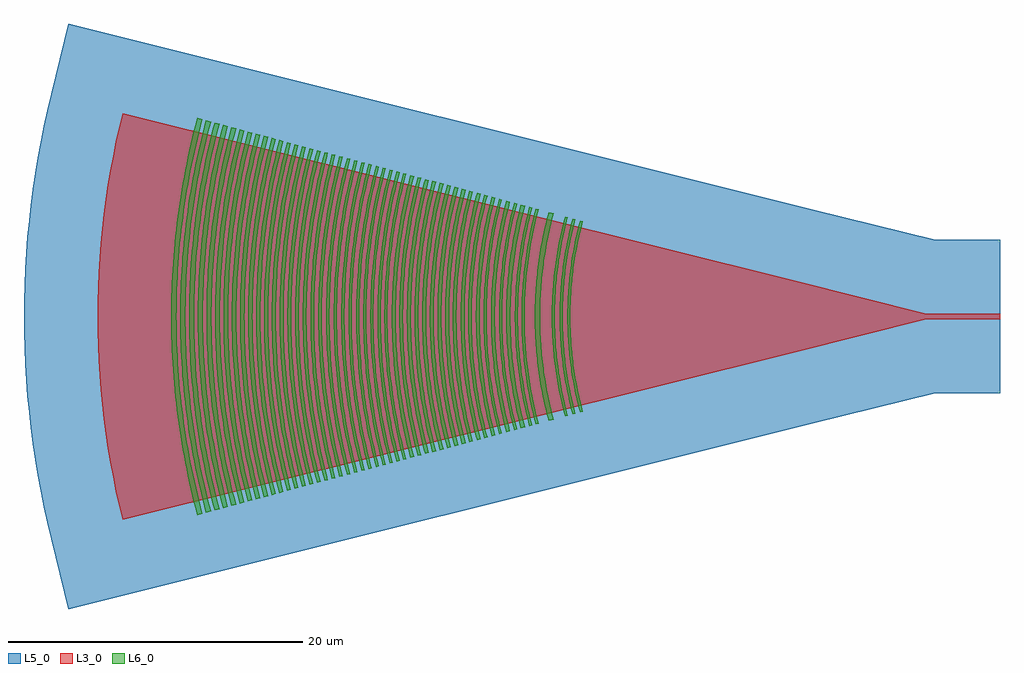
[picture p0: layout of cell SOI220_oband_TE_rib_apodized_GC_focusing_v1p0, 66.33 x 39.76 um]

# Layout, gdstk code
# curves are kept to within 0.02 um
import gdstk
lib = gdstk.Library(unit=1e-6, precision=1e-09)
def P(c, l, *ps):  # polygons
    for p in ps: c.add(gdstk.Polygon(p, *l))
L3_0 = (3, 0)
L5_0 = (5, 0)
L6_0 = (6, 0)

soi220_oband_te_rib_apod = lib.new_cell('SOI220_oband_TE_rib_apodized_GC_focusing_v1p0')
P(soi220_oband_te_rib_apod, L3_0, [(-59.628,-13.82),(-60.077,-11.877),(-60.457,-9.92),(-60.899,-6.962),(-61.108,-4.979),(-61.247,-2.99),(-61.325,0),(-61.247,2.99),(-61.108,4.979),(-60.899,6.962),(-60.457,9.92),(-60.077,11.877),(-59.628,13.82),(-5,0.2),(0,0.2),(0,-0.2),(-5,-0.2)])
P(soi220_oband_te_rib_apod, L5_0, [(-63.27,-19.881),(-63.32,-19.85),(-64.733,-13.977),(-65.183,-11.853),(-65.561,-9.72),(-65.985,-6.495),(-66.174,-4.334),(-66.287,-2.167),(-66.325,0),(-66.287,2.167),(-66.174,4.334),(-65.985,6.495),(-65.561,9.72),(-65.183,11.853),(-64.733,13.977),(-63.32,19.85),(-63.27,19.881),(-4.384,5.2),(0,5.2),(0,-5.2),(-4.385,-5.2)])
P(soi220_oband_te_rib_apod, L6_0, [(-28.539,-6.522),(-28.935,-4.808),(-29.211,-3.071),(-29.351,-1.538),(-29.398,0),(-29.351,1.538),(-29.211,3.071),(-28.935,4.808),(-28.539,6.522),(-28.346,6.47),(-28.739,4.77),(-28.984,3.263),(-29.137,1.744),(-29.198,0),(-29.137,-1.744),(-28.984,-3.263),(-28.739,-4.77),(-28.346,-6.47)],
  [(-29.041,-6.656),(-29.402,-5.128),(-29.698,-3.357),(-29.856,-1.794),(-29.918,0),(-29.856,1.794),(-29.698,3.357),(-29.402,5.128),(-29.041,6.656),(-28.848,6.605),(-29.206,5.088),(-29.5,3.331),(-29.656,1.78),(-29.718,0),(-29.656,-1.78),(-29.5,-3.331),(-29.206,-5.088),(-28.848,-6.605)],
  [(-29.56,-6.795),(-29.928,-5.235),(-30.23,-3.427),(-30.392,-1.832),(-30.455,0),(-30.392,1.832),(-30.23,3.427),(-29.928,5.235),(-29.56,6.795),(-29.367,6.744),(-29.732,5.195),(-30.032,3.401),(-30.192,1.818),(-30.255,0),(-30.192,-1.818),(-30.032,-3.401),(-29.732,-5.195),(-29.367,-6.744)],
  [(-30.675,-7.093),(-31.059,-5.465),(-31.375,-3.577),(-31.558,-1.674),(-31.609,0),(-31.558,1.674),(-31.375,3.577),(-31.059,5.465),(-30.675,7.093),(-30.33,7.002),(-30.709,5.394),(-31.021,3.531),(-31.202,1.652),(-31.252,0),(-31.202,-1.652),(-31.021,-3.531),(-30.709,-5.394),(-30.33,-7.002)],
  [(-31.546,-7.327),(-31.943,-5.645),(-32.268,-3.695),(-32.459,-1.728),(-32.511,0),(-32.459,1.728),(-32.268,3.695),(-31.943,5.645),(-31.546,7.327),(-31.353,7.276),(-31.747,5.605),(-32.07,3.669),(-32.243,1.961),(-32.311,0),(-32.243,-1.961),(-32.07,-3.669),(-31.747,-5.605),(-31.353,-7.276)],
  [(-31.981,-7.444),(-32.384,-5.735),(-32.715,-3.754),(-32.908,-1.756),(-32.961,0),(-32.908,1.756),(-32.715,3.754),(-32.384,5.735),(-31.981,7.444),(-31.788,7.393),(-32.188,5.695),(-32.517,3.728),(-32.708,1.744),(-32.761,0),(-32.708,-1.744),(-32.517,-3.728),(-32.188,-5.695),(-31.788,-7.393)],
  [(-32.557,-7.598),(-33.019,-5.602),(-33.307,-3.832),(-33.503,-1.793),(-33.558,0),(-33.503,1.793),(-33.307,3.832),(-33.019,5.602),(-32.557,7.598),(-32.279,7.524),(-32.736,5.547),(-33.021,3.795),(-33.216,1.775),(-33.27,0),(-33.216,-1.775),(-33.021,-3.795),(-32.736,-5.547),(-32.279,-7.524)],
  [(-33.015,-7.721),(-33.484,-5.692),(-33.776,-3.894),(-33.96,-2.081),(-34.032,0),(-33.96,2.081),(-33.776,3.894),(-33.484,5.692),(-33.015,7.721),(-32.822,7.67),(-33.288,5.654),(-33.578,3.868),(-33.777,1.809),(-33.832,0),(-33.777,-1.809),(-33.578,-3.868),(-33.288,-5.654),(-32.822,-7.67)],
  [(-33.549,-7.864),(-33.975,-6.058),(-34.325,-3.966),(-34.529,-1.855),(-34.585,0),(-34.529,1.855),(-34.325,3.966),(-33.975,6.058),(-33.549,7.864),(-33.299,7.798),(-33.721,6.007),(-34.068,3.932),(-34.253,2.102),(-34.326,0),(-34.253,-2.102),(-34.068,-3.932),(-33.721,-6.007),(-33.299,-7.798)],
  [(-34.037,-7.995),(-34.47,-6.159),(-34.825,-4.032),(-35.033,-1.886),(-35.09,0),(-35.033,1.886),(-34.825,4.032),(-34.47,6.159),(-34.037,7.995),(-33.844,7.944),(-34.274,6.119),(-34.627,4.006),(-34.833,1.874),(-34.89,0),(-34.833,-1.874),(-34.627,-4.006),(-34.274,-6.119),(-33.844,-7.944)],
  [(-34.54,-8.129),(-34.979,-6.263),(-35.18,-5.184),(-35.341,-4.1),(-35.552,-1.918),(-35.61,0),(-35.552,1.918),(-35.341,4.1),(-35.18,5.184),(-34.979,6.263),(-34.54,8.129),(-34.303,8.067),(-34.739,6.214),(-35.098,4.068),(-35.307,1.903),(-35.365,0),(-35.307,-1.903),(-35.098,-4.068),(-34.739,-6.214),(-34.303,-8.067)],
  [(-35.052,-8.266),(-35.553,-6.095),(-35.867,-4.17),(-36.081,-1.95),(-36.14,0),(-36.081,1.95),(-35.867,4.17),(-35.553,6.095),(-35.052,8.266),(-34.827,8.207),(-35.27,6.322),(-35.636,4.139),(-35.83,2.212),(-35.907,0),(-35.83,-2.212),(-35.636,-4.139),(-35.27,-6.322),(-34.827,-8.207)],
  [(-35.54,-8.397),(-35.994,-6.469),(-36.368,-4.235),(-36.585,-1.98),(-36.645,0),(-36.585,1.98),(-36.368,4.235),(-35.994,6.469),(-35.54,8.397),(-35.293,8.332),(-35.799,6.143),(-36.115,4.202),(-36.312,2.246),(-36.39,0),(-36.312,-2.246),(-36.115,-4.202),(-35.799,-6.143),(-35.293,-8.332)],
  [(-36.061,-8.537),(-36.523,-6.576),(-36.733,-5.445),(-36.903,-4.305),(-37.124,-2.014),(-37.185,0),(-37.124,2.014),(-36.903,4.305),(-36.733,5.445),(-36.523,6.576),(-36.061,8.537),(-35.822,8.474),(-36.281,6.527),(-36.658,4.273),(-36.877,1.999),(-36.938,0),(-36.877,-1.999),(-36.658,-4.273),(-36.281,-6.527),(-35.822,-8.474)],
  [(-36.563,-8.671),(-37.033,-6.68),(-37.419,-4.373),(-37.551,-3.212),(-37.643,-2.045),(-37.705,0),(-37.643,2.045),(-37.551,3.212),(-37.419,4.373),(-37.033,6.68),(-36.563,8.671),(-36.302,8.602),(-36.768,6.626),(-37.151,4.338),(-37.282,3.186),(-37.373,2.029),(-37.435,0),(-37.373,-2.029),(-37.282,-3.186),(-37.151,-4.338),(-36.768,-6.626),(-36.302,-8.602)],
  [(-37.065,-8.806),(-37.353,-7.655),(-37.6,-6.493),(-37.934,-4.441),(-38.069,-3.261),(-38.162,-2.077),(-38.225,0),(-38.162,2.077),(-38.069,3.261),(-37.934,4.441),(-37.6,6.493),(-37.353,7.655),(-37.065,8.806),(-36.814,8.74),(-37.1,7.596),(-37.345,6.443),(-37.676,4.407),(-37.883,2.355),(-37.944,1.178),(-37.965,0),(-37.944,-1.178),(-37.883,-2.355),(-37.676,-4.407),(-37.345,-6.443),(-37.1,-7.596),(-36.814,-8.74)],
  [(-37.568,-8.94),(-38.052,-6.888),(-38.271,-5.702),(-38.45,-4.509),(-38.586,-3.311),(-38.681,-2.109),(-38.745,0),(-38.681,2.109),(-38.586,3.311),(-38.45,4.509),(-38.271,5.702),(-38.052,6.888),(-37.568,8.94),(-37.317,8.874),(-37.797,6.836),(-38.015,5.659),(-38.192,4.475),(-38.327,3.286),(-38.421,2.093),(-38.485,0),(-38.421,-2.093),(-38.327,-3.286),(-38.192,-4.475),(-38.015,-5.659),(-37.797,-6.836),(-37.317,-8.874)],
  [(-38.07,-9.075),(-38.366,-7.888),(-38.621,-6.691),(-38.965,-4.577),(-39.104,-3.361),(-39.2,-2.14),(-39.265,0),(-39.2,2.14),(-39.104,3.361),(-38.965,4.577),(-38.621,6.691),(-38.366,7.888),(-38.07,9.075),(-37.81,9.006),(-38.104,7.828),(-38.357,6.64),(-38.698,4.542),(-38.836,3.335),(-38.931,2.124),(-38.996,0),(-38.931,-2.124),(-38.836,-3.335),(-38.698,-4.542),(-38.357,-6.64),(-38.104,-7.828),(-37.81,-9.006)],
  [(-38.572,-9.21),(-39.071,-7.095),(-39.296,-5.874),(-39.481,-4.645),(-39.621,-3.411),(-39.719,-2.173),(-39.785,0),(-39.719,2.173),(-39.621,3.411),(-39.481,4.645),(-39.296,5.874),(-39.071,7.095),(-38.572,9.21),(-38.322,9.144),(-38.817,7.043),(-39.041,5.831),(-39.224,4.611),(-39.44,2.464),(-39.504,1.233),(-39.526,0),(-39.504,-1.233),(-39.44,-2.464),(-39.224,-4.611),(-39.041,-5.831),(-38.817,-7.043),(-38.322,-9.144)],
  [(-39.07,-9.343),(-39.576,-7.198),(-39.805,-5.959),(-39.991,-4.713),(-40.134,-3.46),(-40.233,-2.204),(-40.3,0),(-40.233,2.204),(-40.134,3.46),(-39.991,4.713),(-39.805,5.959),(-39.576,7.198),(-39.07,9.343),(-38.814,9.275),(-39.316,7.145),(-39.544,5.915),(-39.728,4.678),(-39.948,2.5),(-40.013,1.251),(-40.035,0),(-40.013,-1.251),(-39.948,-2.5),(-39.728,-4.678),(-39.544,-5.915),(-39.316,-7.145),(-38.814,-9.275)],
  [(-39.568,-9.476),(-39.877,-8.237),(-40.143,-6.987),(-40.502,-4.779),(-40.647,-3.509),(-40.747,-2.236),(-40.815,0),(-40.747,2.236),(-40.647,3.509),(-40.502,4.779),(-40.143,6.987),(-39.877,8.237),(-39.568,9.476),(-39.335,9.415),(-39.642,8.183),(-39.906,6.941),(-40.263,4.748),(-40.407,3.486),(-40.506,2.221),(-40.574,0),(-40.506,-2.221),(-40.407,-3.486),(-40.263,-4.748),(-39.906,-6.941),(-39.642,-8.183),(-39.335,-9.415)],
  [(-40.063,-9.609),(-40.583,-7.403),(-40.818,-6.128),(-41.011,-4.846),(-41.157,-3.559),(-41.259,-2.267),(-41.328,0),(-41.259,2.267),(-41.157,3.559),(-41.011,4.846),(-40.818,6.128),(-40.583,7.403),(-40.063,9.609),(-39.809,9.542),(-40.12,8.293),(-40.388,7.035),(-40.75,4.812),(-40.975,2.572),(-41.043,1.287),(-41.065,0),(-41.043,-1.287),(-40.975,-2.572),(-40.75,-4.812),(-40.388,-7.035),(-40.12,-8.293),(-39.809,-9.542)],
  [(-40.549,-9.739),(-41.076,-7.503),(-41.315,-6.211),(-41.509,-4.912),(-41.74,-2.625),(-41.808,-1.313),(-41.831,0),(-41.808,1.313),(-41.74,2.625),(-41.509,4.912),(-41.315,6.211),(-41.076,7.503),(-40.549,9.739),(-40.355,9.688),(-40.743,8.102),(-41.003,6.821),(-41.266,5.21),(-41.425,3.913),(-41.579,1.959),(-41.63,0),(-41.579,-1.959),(-41.425,-3.913),(-41.266,-5.21),(-41.003,-6.821),(-40.743,-8.102),(-40.355,-9.688)],
  [(-41,-9.86),(-41.321,-8.571),(-41.598,-7.27),(-41.972,-4.974),(-42.123,-3.652),(-42.227,-2.326),(-42.298,0),(-42.227,2.326),(-42.123,3.652),(-41.972,4.974),(-41.598,7.27),(-41.321,8.571),(-41,9.86),(-40.79,9.805),(-41.11,8.522),(-41.447,6.904),(-41.665,5.599),(-41.873,3.96),(-42.029,1.983),(-42.081,0),(-42.029,-1.983),(-41.873,-3.96),(-41.665,-5.599),(-41.447,-6.904),(-41.11,-8.522),(-40.79,-9.805)],
  [(-41.469,-9.986),(-41.795,-8.68),(-42.075,-7.362),(-42.454,-5.036),(-42.69,-2.692),(-42.761,-1.347),(-42.784,0),(-42.761,1.347),(-42.69,2.692),(-42.454,5.036),(-42.075,7.362),(-41.795,8.68),(-41.469,9.986),(-41.276,9.935),(-41.6,8.635),(-41.879,7.324),(-42.162,5.674),(-42.337,4.345),(-42.531,2.009),(-42.584,0),(-42.531,-2.009),(-42.337,-4.345),(-42.162,-5.674),(-41.879,-7.324),(-41.6,-8.635),(-41.276,-9.935)],
  [(-41.935,-10.111),(-42.482,-7.789),(-42.73,-6.448),(-42.931,-5.099),(-43.086,-3.744),(-43.194,-2.385),(-43.266,0),(-43.194,2.385),(-43.086,3.744),(-42.931,5.099),(-42.73,6.448),(-42.482,7.789),(-41.935,10.111),(-41.742,10.06),(-42.07,8.743),(-42.352,7.416),(-42.639,5.745),(-42.816,4.4),(-42.994,2.373),(-43.066,0),(-42.994,-2.373),(-42.816,-4.4),(-42.639,-5.745),(-42.352,-7.416),(-42.07,-8.743),(-41.742,-10.06)],
  [(-42.398,-10.235),(-42.952,-7.885),(-43.203,-6.528),(-43.407,-5.162),(-43.564,-3.791),(-43.673,-2.414),(-43.746,0),(-43.673,2.414),(-43.564,3.791),(-43.407,5.162),(-43.203,6.528),(-42.952,7.885),(-42.398,10.235),(-42.201,10.183),(-42.534,8.85),(-42.819,7.507),(-43.058,6.155),(-43.289,4.454),(-43.469,2.402),(-43.542,0),(-43.469,-2.402),(-43.289,-4.454),(-43.11,-5.815),(-42.883,-7.17),(-42.534,-8.85),(-42.201,-10.183)],
  [(-42.899,-10.369),(-43.459,-7.988),(-43.713,-6.613),(-43.92,-5.229),(-44.078,-3.84),(-44.189,-2.446),(-44.263,0),(-44.189,2.446),(-44.078,3.84),(-43.92,5.229),(-43.713,6.613),(-43.459,7.988),(-42.899,10.369),(-42.705,10.318),(-43.041,8.968),(-43.331,7.607),(-43.625,5.892),(-43.807,4.513),(-43.989,2.434),(-44.063,0),(-43.989,-2.434),(-43.807,-4.513),(-43.625,-5.892),(-43.331,-7.607),(-43.041,-8.968),(-42.705,-10.318)],
  [(-43.378,-10.498),(-43.946,-8.087),(-44.204,-6.695),(-44.413,-5.295),(-44.573,-3.887),(-44.685,-2.476),(-44.76,0),(-44.685,2.476),(-44.573,3.887),(-44.413,5.295),(-44.204,6.695),(-43.946,8.087),(-43.378,10.498),(-43.174,10.444),(-43.515,9.077),(-43.808,7.699),(-44.106,5.964),(-44.29,4.568),(-44.494,2.112),(-44.549,0),(-44.494,-2.112),(-44.29,-4.568),(-44.106,-5.964),(-43.808,-7.699),(-43.515,-9.077),(-43.174,-10.444)],
  [(-43.872,-10.63),(-44.448,-8.189),(-44.709,-6.779),(-44.92,-5.361),(-45.083,-3.937),(-45.196,-2.508),(-45.272,0),(-45.196,2.508),(-45.083,3.937),(-44.92,5.361),(-44.709,6.779),(-44.448,8.189),(-43.872,10.63),(-43.672,10.577),(-44.018,9.193),(-44.381,7.447),(-44.616,6.041),(-44.802,4.626),(-44.989,2.495),(-45.065,0),(-44.989,-2.495),(-44.802,-4.626),(-44.616,-6.041),(-44.381,-7.447),(-44.018,-9.193),(-43.672,-10.577)],
  [(-44.375,-10.764),(-44.726,-9.357),(-45.028,-7.937),(-45.436,-5.43),(-45.601,-3.987),(-45.715,-2.54),(-45.792,0),(-45.715,2.54),(-45.601,3.987),(-45.436,5.43),(-45.028,7.937),(-44.726,9.357),(-44.375,10.764),(-44.157,10.707),(-44.507,9.306),(-44.807,7.894),(-45.113,6.115),(-45.301,4.683),(-45.49,2.526),(-45.567,0),(-45.49,-2.526),(-45.301,-4.683),(-45.113,-6.115),(-44.807,-7.894),(-44.507,-9.306),(-44.157,-10.707)],
  [(-44.886,-10.901),(-45.241,-9.475),(-45.547,-8.037),(-45.961,-5.498),(-46.127,-4.037),(-46.243,-2.571),(-46.321,0),(-46.243,2.571),(-46.127,4.037),(-45.961,5.498),(-45.547,8.037),(-45.241,9.475),(-44.886,10.901),(-44.662,10.842),(-45.096,9.067),(-45.388,7.634),(-45.629,6.192),(-45.82,4.742),(-46.032,2.192),(-46.089,0),(-46.032,-2.192),(-45.82,-4.742),(-45.629,-6.192),(-45.388,-7.634),(-45.096,-9.067),(-44.662,-10.842)],
  [(-45.396,-11.038),(-45.756,-9.594),(-46.066,-8.138),(-46.484,-5.567),(-46.653,-4.088),(-46.77,-2.603),(-46.849,0),(-46.77,2.603),(-46.653,4.088),(-46.484,5.567),(-46.066,8.138),(-45.756,9.594),(-45.396,11.038),(-45.168,10.978),(-45.608,9.18),(-45.903,7.73),(-46.147,6.269),(-46.381,4.434),(-46.555,2.22),(-46.613,0),(-46.555,-2.22),(-46.381,-4.434),(-46.147,-6.269),(-45.903,-7.73),(-45.608,-9.18),(-45.168,-10.978)],
  [(-45.902,-11.174),(-46.267,-9.713),(-46.58,-8.238),(-47.004,-5.636),(-47.174,-4.138),(-47.293,-2.636),(-47.373,0),(-47.293,2.636),(-47.174,4.138),(-47.004,5.636),(-46.58,8.238),(-46.267,9.713),(-45.902,11.174),(-45.667,11.112),(-46.03,9.658),(-46.411,7.824),(-46.712,5.975),(-46.895,4.488),(-47.071,2.247),(-47.13,0),(-47.071,-2.247),(-46.895,-4.488),(-46.712,-5.975),(-46.411,-7.824),(-46.03,-9.658),(-45.667,-11.112)],
  [(-46.408,-11.31),(-47.02,-8.713),(-47.298,-7.212),(-47.523,-5.703),(-47.696,-4.188),(-47.816,-2.668),(-47.871,-1.525),(-47.897,0),(-47.871,1.525),(-47.816,2.668),(-47.696,4.188),(-47.523,5.703),(-47.298,7.212),(-47.02,8.713),(-46.408,11.31),(-46.167,11.246),(-46.534,9.774),(-46.85,8.291),(-47.171,6.422),(-47.369,4.919),(-47.567,2.653),(-47.622,1.516),(-47.648,0),(-47.622,-1.516),(-47.567,-2.653),(-47.369,-4.919),(-47.171,-6.422),(-46.85,-8.291),(-46.534,-9.774),(-46.167,-11.246)],
  [(-46.915,-11.445),(-47.2,-10.324),(-47.534,-8.816),(-47.815,-7.299),(-48.044,-5.773),(-48.219,-4.239),(-48.34,-2.7),(-48.407,-1.158),(-48.422,0),(-48.407,1.158),(-48.34,2.7),(-48.219,4.239),(-48.044,5.773),(-47.815,7.299),(-47.534,8.816),(-47.2,10.324),(-46.915,11.445),(-46.666,11.379),(-47.122,9.516),(-47.428,8.012),(-47.681,6.499),(-47.923,4.596),(-48.104,2.301),(-48.164,0),(-48.104,-2.301),(-47.923,-4.596),(-47.681,-6.499),(-47.428,-8.012),(-47.122,-9.516),(-46.666,-11.379)],
  [(-47.426,-11.582),(-47.715,-10.447),(-48.053,-8.922),(-48.337,-7.386),(-48.568,-5.842),(-48.745,-4.29),(-48.868,-2.732),(-48.936,-1.172),(-48.951,0),(-48.936,1.172),(-48.868,2.732),(-48.745,4.29),(-48.568,5.842),(-48.337,7.386),(-48.053,8.922),(-47.715,10.447),(-47.426,11.582),(-47.169,11.514),(-47.545,10.007),(-47.868,8.489),(-48.075,7.342),(-48.304,5.807),(-48.48,4.264),(-48.577,3.103),(-48.658,1.553),(-48.685,0),(-48.658,-1.553),(-48.577,-3.103),(-48.48,-4.264),(-48.304,-5.807),(-48.075,-7.342),(-47.868,-8.489),(-47.545,-10.007),(-47.169,-11.514)],
  [(-47.939,-11.719),(-48.321,-10.186),(-48.65,-8.641),(-48.925,-7.084),(-49.095,-5.91),(-49.274,-4.34),(-49.397,-2.765),(-49.455,-1.581),(-49.482,0),(-49.455,1.581),(-49.397,2.765),(-49.274,4.34),(-49.095,5.91),(-48.925,7.084),(-48.65,8.641),(-48.321,10.186),(-47.939,11.719),(-47.675,11.65),(-48.055,10.125),(-48.382,8.589),(-48.592,7.429),(-48.824,5.875),(-49.002,4.314),(-49.125,2.748),(-49.182,1.571),(-49.209,0),(-49.182,-1.571),(-49.125,-2.748),(-49.002,-4.314),(-48.824,-5.875),(-48.592,-7.429),(-48.382,-8.589),(-48.055,-10.125),(-47.675,-11.65)],
  [(-48.451,-11.857),(-48.838,-10.306),(-49.17,-8.741),(-49.384,-7.561),(-49.62,-5.981),(-49.761,-4.789),(-49.9,-3.195),(-49.984,-1.598),(-50.012,0),(-49.984,1.598),(-49.9,3.195),(-49.801,4.391),(-49.62,5.981),(-49.384,7.561),(-49.17,8.741),(-48.838,10.306),(-48.451,11.857),(-48.181,11.785),(-48.475,10.63),(-48.819,9.078),(-49.109,7.515),(-49.343,5.944),(-49.523,4.364),(-49.648,2.78),(-49.705,1.589),(-49.733,0),(-49.705,-1.589),(-49.648,-2.78),(-49.523,-4.364),(-49.343,-5.944),(-49.109,-7.515),(-48.819,-9.078),(-48.475,-10.63),(-48.181,-11.785)],
  [(-48.968,-11.995),(-49.36,-10.426),(-49.697,-8.844),(-49.977,-7.251),(-50.152,-6.05),(-50.335,-4.442),(-50.435,-3.233),(-50.52,-1.618),(-50.548,0),(-50.52,1.618),(-50.435,3.233),(-50.335,4.442),(-50.152,6.05),(-49.977,7.251),(-49.697,8.844),(-49.36,10.426),(-48.968,11.995),(-48.692,11.922),(-49.081,10.362),(-49.416,8.789),(-49.695,7.206),(-49.868,6.013),(-50.01,4.815),(-50.15,3.213),(-50.234,1.608),(-50.262,0),(-50.234,-1.608),(-50.15,-3.213),(-50.01,-4.815),(-49.868,-6.013),(-49.695,-7.206),(-49.416,-8.789),(-49.081,-10.362),(-48.692,-11.922)],
  [(-49.494,-12.136),(-49.89,-10.549),(-50.231,-8.948),(-50.449,-7.739),(-50.69,-6.122),(-50.876,-4.494),(-51.004,-2.863),(-51.064,-1.636),(-51.092,0),(-51.064,1.636),(-51.004,2.863),(-50.876,4.494),(-50.69,6.122),(-50.449,7.739),(-50.231,8.948),(-49.89,10.549),(-49.494,12.136),(-49.21,12.061),(-49.604,10.483),(-49.942,8.892),(-50.159,7.691),(-50.399,6.083),(-50.583,4.466),(-50.711,2.845),(-50.77,1.626),(-50.798,0),(-50.77,-1.626),(-50.711,-2.845),(-50.583,-4.466),(-50.399,-6.083),(-50.159,-7.691),(-49.942,-8.892),(-49.604,-10.483),(-49.21,-12.061)],
  [(-50.027,-12.278),(-50.427,-10.673),(-50.691,-9.459),(-50.992,-7.831),(-51.237,-6.193),(-51.425,-4.548),(-51.527,-3.31),(-51.614,-1.656),(-51.643,0),(-51.614,1.656),(-51.527,3.31),(-51.425,4.548),(-51.237,6.193),(-50.992,7.831),(-50.691,9.459),(-50.427,10.673),(-50.027,12.278),(-49.736,12.202),(-50.134,10.605),(-50.396,9.399),(-50.695,7.781),(-50.939,6.154),(-51.125,4.519),(-51.254,2.878),(-51.326,1.234),(-51.342,0),(-51.326,-1.234),(-51.254,-2.878),(-51.125,-4.519),(-50.939,-6.154),(-50.695,-7.781),(-50.396,-9.399),(-50.134,-10.605),(-49.736,-12.202)],
  [(-50.567,-12.423),(-50.972,-10.798),(-51.239,-9.571),(-51.544,-7.923),(-51.791,-6.265),(-51.981,-4.601),(-52.085,-3.349),(-52.173,-1.676),(-52.202,0),(-52.173,1.676),(-52.085,3.349),(-51.981,4.601),(-51.791,6.265),(-51.544,7.923),(-51.239,9.571),(-50.972,10.798),(-50.567,12.423),(-50.268,12.344),(-50.671,10.729),(-50.936,9.509),(-51.239,7.872),(-51.485,6.225),(-51.632,4.985),(-51.777,3.327),(-51.864,1.665),(-51.893,0),(-51.864,-1.665),(-51.777,-3.327),(-51.632,-4.985),(-51.485,-6.225),(-51.239,-7.872),(-50.936,-9.509),(-50.671,-10.729),(-50.268,-12.344)],
  [(-51.113,-12.569),(-51.522,-10.926),(-51.792,-9.682),(-52.101,-8.016),(-52.351,-6.339),(-52.544,-4.655),(-52.676,-2.965),(-52.738,-1.695),(-52.767,0),(-52.738,1.695),(-52.676,2.965),(-52.544,4.655),(-52.351,6.339),(-52.101,8.016),(-51.792,9.682),(-51.522,10.926),(-51.113,12.569),(-50.808,12.489),(-51.119,11.265),(-51.483,9.62),(-51.79,7.964),(-52.039,6.298),(-52.23,4.625),(-52.362,2.946),(-52.423,1.684),(-52.452,0),(-52.423,-1.684),(-52.362,-2.946),(-52.23,-4.625),(-52.039,-6.298),(-51.79,-7.964),(-51.483,-9.62),(-51.119,-11.265),(-50.808,-12.489)],
  [(-51.667,-12.717),(-52.082,-11.055),(-52.438,-9.377),(-52.736,-7.688),(-52.92,-6.414),(-53.072,-5.137),(-53.221,-3.427),(-53.311,-1.715),(-53.341,0),(-53.311,1.715),(-53.221,3.427),(-53.072,5.137),(-52.92,6.414),(-52.736,7.688),(-52.438,9.377),(-52.082,11.055),(-51.667,12.717),(-51.354,12.635),(-51.766,10.982),(-52.037,9.733),(-52.347,8.057),(-52.599,6.372),(-52.792,4.679),(-52.926,2.98),(-52.987,1.704),(-53.017,0),(-52.987,-1.704),(-52.926,-2.98),(-52.792,-4.679),(-52.599,-6.372),(-52.347,-8.057),(-52.037,-9.733),(-51.766,-10.982),(-51.354,-12.635)],
  [(-52.228,-12.868),(-52.648,-11.185),(-53.009,-9.488),(-53.31,-7.778),(-53.496,-6.49),(-53.693,-4.766),(-53.801,-3.468),(-53.892,-1.736),(-53.922,0),(-53.892,1.736),(-53.801,3.468),(-53.693,4.766),(-53.496,6.49),(-53.31,7.778),(-53.009,9.488),(-52.648,11.185),(-52.228,12.868),(-51.908,12.784),(-52.325,11.111),(-52.684,9.425),(-52.914,8.152),(-53.168,6.447),(-53.364,4.734),(-53.471,3.445),(-53.561,1.724),(-53.591,0),(-53.561,-1.724),(-53.471,-3.445),(-53.364,-4.734),(-53.168,-6.447),(-52.914,-8.152),(-52.684,-9.425),(-52.325,-11.111),(-51.908,-12.784)],
  [(-52.797,-13.02),(-53.221,-11.318),(-53.587,-9.6),(-53.892,-7.871),(-54.08,-6.567),(-54.279,-4.823),(-54.417,-3.072),(-54.481,-1.756),(-54.511,0),(-54.481,1.756),(-54.417,3.072),(-54.279,4.823),(-54.08,6.567),(-53.892,7.871),(-53.587,9.6),(-53.221,11.318),(-52.797,13.02),(-52.469,12.934),(-52.891,11.242),(-53.169,9.963),(-53.487,8.248),(-53.744,6.523),(-53.942,4.79),(-54.079,3.051),(-54.142,1.744),(-54.172,0),(-54.142,-1.744),(-54.079,-3.051),(-53.942,-4.79),(-53.744,-6.523),(-53.487,-8.248),(-53.169,-9.963),(-52.891,-11.242),(-52.469,-12.934)],
  [(-53.374,-13.175),(-53.803,-11.452),(-54.173,-9.714),(-54.41,-8.402),(-54.672,-6.645),(-54.829,-5.321),(-54.984,-3.551),(-55.077,-1.777),(-55.108,0),(-55.077,1.777),(-54.984,3.551),(-54.829,5.321),(-54.672,6.645),(-54.41,8.402),(-54.173,9.714),(-53.803,11.452),(-53.374,13.175),(-53.038,13.087),(-53.364,11.804),(-53.746,10.081),(-54.068,8.345),(-54.328,6.6),(-54.528,4.846),(-54.667,3.087),(-54.744,1.324),(-54.761,0),(-54.744,-1.324),(-54.667,-3.087),(-54.528,-4.846),(-54.328,-6.6),(-54.068,-8.345),(-53.746,-10.081),(-53.364,-11.804),(-53.038,-13.087)],
  [(-53.958,-13.331),(-54.393,-11.588),(-54.767,-9.83),(-55.079,-8.059),(-55.272,-6.725),(-55.475,-4.937),(-55.617,-3.145),(-55.682,-1.797),(-55.713,0),(-55.682,1.797),(-55.617,3.145),(-55.475,4.937),(-55.272,6.725),(-55.079,8.059),(-54.767,9.83),(-54.393,11.588),(-53.958,13.331),(-53.615,13.241),(-54.047,11.508),(-54.331,10.2),(-54.656,8.444),(-54.92,6.678),(-55.122,4.903),(-55.263,3.123),(-55.327,1.785),(-55.358,0),(-55.327,-1.785),(-55.263,-3.123),(-55.122,-4.903),(-54.92,-6.678),(-54.656,-8.444),(-54.331,-10.2),(-54.047,-11.508),(-53.615,-13.241)],
  [(-54.549,-13.49),(-54.885,-12.169),(-55.279,-10.392),(-55.61,-8.604),(-55.879,-6.804),(-56.085,-4.996),(-56.198,-3.636),(-56.293,-1.819),(-56.325,0),(-56.293,1.819),(-56.198,3.636),(-56.085,4.996),(-55.879,6.804),(-55.61,8.604),(-55.279,10.392),(-54.885,12.169),(-54.549,13.49),(-54.199,13.398),(-54.533,12.084),(-54.924,10.32),(-55.253,8.544),(-55.52,6.757),(-55.725,4.961),(-55.837,3.611),(-55.931,1.807),(-55.963,0),(-55.931,-1.807),(-55.837,-3.611),(-55.725,-4.961),(-55.52,-6.757),(-55.253,-8.544),(-54.924,-10.32),(-54.533,-12.084),(-54.199,-13.398)])

lib.write_gds('SOI220_oband_TE_rib_apodized_GC_focusing_v1p0.gds')
